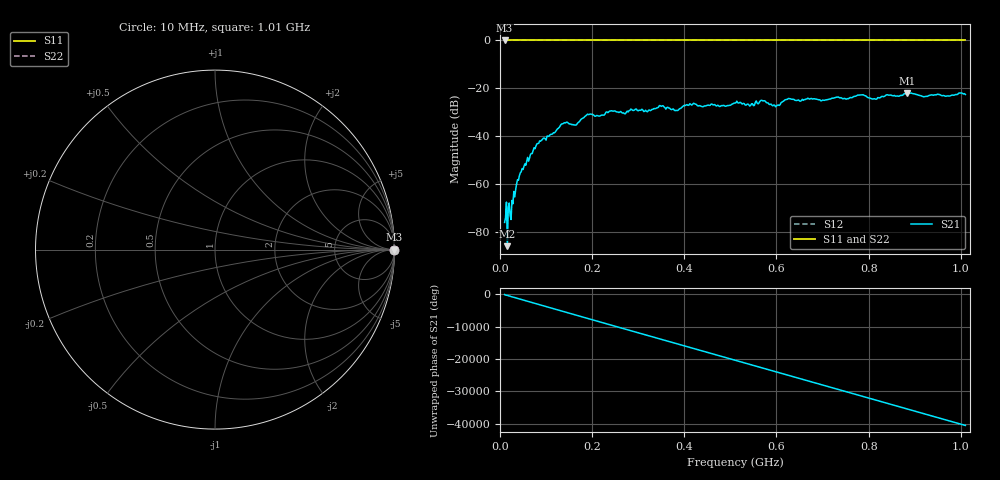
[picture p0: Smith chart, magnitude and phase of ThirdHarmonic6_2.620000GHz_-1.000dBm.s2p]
! 8/17/2025 5:47:38 AM
! C:\ANRITSUVNA\TEMP\TEMP.S2P
! CHANNEL.1
! TR.MEASUREMENT
! RAW.DATA
! RF.CORRECTION.OFF
! AVERAGING.OFF
! IF.BANDWIDTH: 5KHZ
! SWEEPTYPE:  FREQ.SWEEP(Linear)
! Reference Plane Port Info
! PORT:  PORT1  PORT2
! DISTANCE:  0  m  0  m
! TIME:  0  s  0  s
! PHASE.OFFSET:  0  deg.  0  deg.
! LOSS:  0  dB  0  dB
! REF.LOSS:  0  dB  0  dB
! REF.FREQ:  0  Hz  0  Hz
! Power Info
! POWER:  -20  dBm  -20  dBm
! EFF.POWER:  -20  dBm  -20  dBm
! SOURCE.ATTEN:  0  dB  0  dB
! TEST.ATTEN:  0  dB  0  dB
# GHZ S RI R 50.0
! FREQ.GHZ  S11RE  S11IM  S21RE  S21IM  S12RE  S12IM  S22RE  S22IM
!; PortSelection: Port_12
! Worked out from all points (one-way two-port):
!   501 points, 10 MHz to 1.01 GHz, reference 50 ohm
!   highest |S21| = -21.94 dB at 884 MHz (marker M1); lowest = -86.0 dB at 16 MHz (marker M2)
!   lowest |S11| = 0.0 dB at 10 MHz (marker M3)
!   |S11| at or under -10 dB: nowhere
!   |S22| runs from 0.0 to 0.0 dB; largest |S21 - S12| = 1.1
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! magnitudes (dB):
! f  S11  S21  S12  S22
! 10 MHz  0.0  -76.0  0.0  0.0
! 12 MHz  0.0  -74.1  0.0  0.0
! 16 MHz  0.0  -86.0  0.0  0.0
! 20 MHz  0.0  -68.0  0.0  0.0
! 34 MHz  0.0  -62.4  0.0  0.0
! 46 MHz  0.0  -54.9  0.0  0.0
! 82 MHz  0.0  -43.1  0.0  0.0
! 136 MHz  0.0  -34.9  0.0  0.0
! 162 MHz  0.0  -35.3  0.0  0.0
! 178 MHz  0.0  -32.7  0.0  0.0
! 344 MHz  0.0  -27.8  0.0  0.0
! 382 MHz  0.0  -29.2  0.0  0.0
! 416 MHz  0.0  -27.0  0.0  0.0
! 510 MHz  0.0  -26.1  0.0  0.0
! 546 MHz  0.0  -26.4  0.0  0.0
! 570 MHz  0.0  -25.2  0.0  0.0
! 602 MHz  0.0  -27.1  0.0  0.0
! 624 MHz  0.0  -24.5  0.0  0.0
! 678 MHz  0.0  -24.5  0.0  0.0
! 844 MHz  0.0  -22.9  0.0  0.0
! 884 MHz  0.0  -21.9  0.0  0.0
! 1.01 GHz  0.0  -22.6  0.0  0.0
